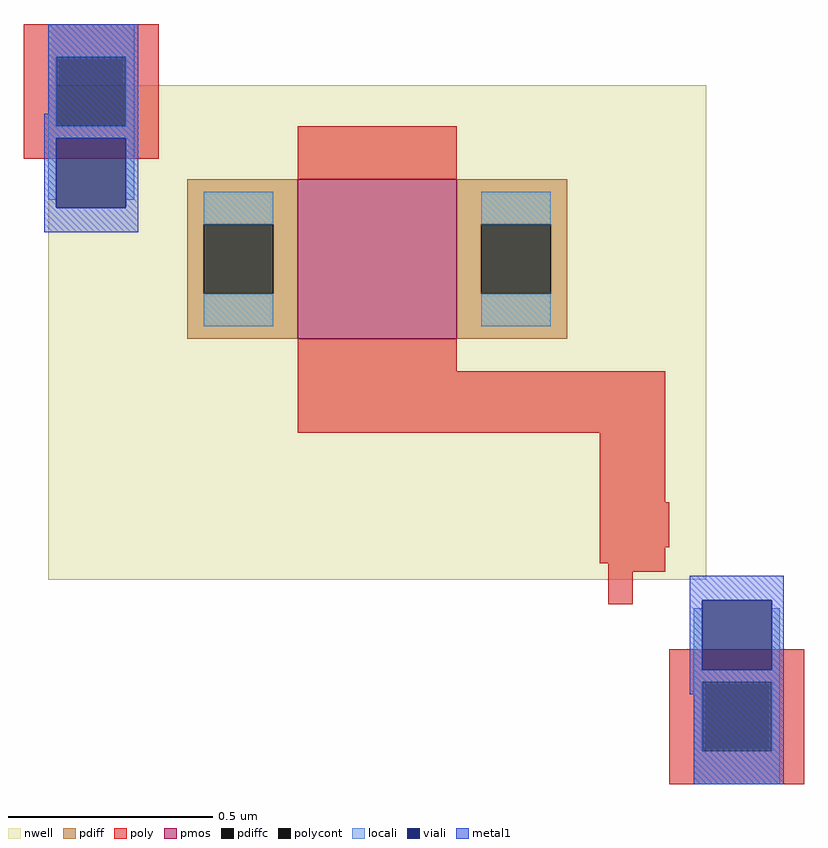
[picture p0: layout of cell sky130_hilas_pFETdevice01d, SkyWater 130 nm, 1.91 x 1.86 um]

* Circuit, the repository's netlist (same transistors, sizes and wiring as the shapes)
* NGSPICE file created from /home/bjmuld/work/hilas/fastlane/PDKs/sky130A_hilas/libs.ref/sky130_hilas_sc/mag/sky130_hilas_pFETdevice01d.ext - technology: sky130A


* Top level circuit /home/bjmuld/work/hilas/fastlane/PDKs/sky130A_hilas/libs.ref/sky130_hilas_sc/mag/sky130_hilas_pFETdevice01d

X0 a_42_n38# a_n36_n84# a_n90_n38# w_n158_n156# sky130_fd_pr__pfet_01v8 w=390000u l=390000u
.end

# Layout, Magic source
magic
tech sky130A
<< nwell >>
rect 6 50 167 171
<< pmos >>
rect 67 109 106 148
<< pdiff >>
rect 40 137 67 148
rect 40 120 44 137
rect 61 120 67 137
rect 40 109 67 120
rect 106 137 133 148
rect 106 120 112 137
rect 129 120 133 137
rect 106 109 133 120
<< pdiffc >>
rect 44 120 61 137
rect 112 120 129 137
<< poly >>
rect 67 148 106 161
rect 67 101 106 109
rect 67 86 157 101
rect 141 69 157 86
rect 141 58 158 69
rect 141 54 157 58
rect 143 52 157 54
rect 143 44 149 52
<< locali >>
rect 44 137 61 145
rect 44 112 61 120
rect 112 137 129 145
rect 112 112 129 120
use sky130_hilas_poly2m1  sky130_hilas_poly2m1_0
transform 1 0 0 0 1 135
box 0 0 33 51
use sky130_hilas_poly2m1  sky130_hilas_poly2m1_2
transform 1 0 158 0 -1 51
box 0 0 33 51
<< properties >>
string LEFsite unithd
string LEFclass CORE
string LEFsymmetry X Y R90
<< end >>

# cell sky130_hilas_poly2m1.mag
magic
tech sky130A
<< poly >>
rect 0 43 33 51
rect 0 26 8 43
rect 25 26 33 43
rect 0 18 33 26
<< polycont >>
rect 8 26 25 43
<< locali >>
rect 6 43 27 51
rect 6 26 8 43
rect 25 26 27 43
rect 6 23 27 26
rect 6 8 8 23
rect 25 8 27 23
<< viali >>
rect 8 6 25 23
<< metal1 >>
rect 6 29 28 51
rect 5 23 28 29
rect 5 6 8 23
rect 25 6 28 23
rect 5 0 28 6
<< properties >>
string LEFsite unithd
string LEFclass CORE
string LEFsymmetry X Y R90
<< end >>
